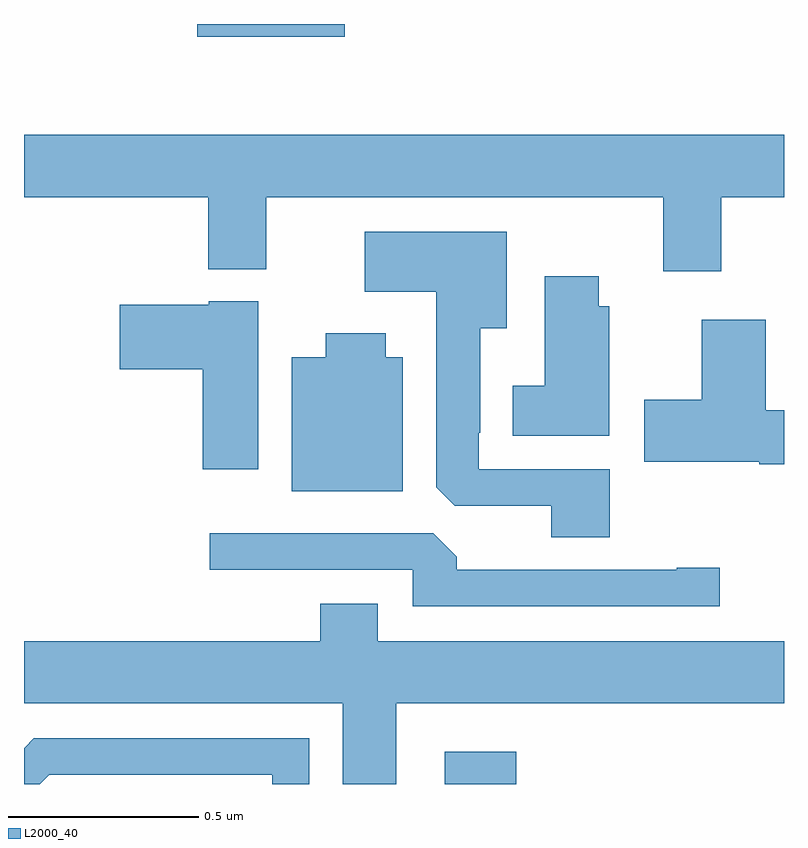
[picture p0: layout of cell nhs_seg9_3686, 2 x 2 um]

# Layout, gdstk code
import gdstk
lib = gdstk.Library(unit=1e-6, precision=1e-09)
def R(c, l, rs):  # rectangles x0, y0, x1, y1
    for r in rs: c.add(gdstk.rectangle(r[:2], r[2:], *l))
def P(c, l, *ps):  # polygons
    for p in ps: c.add(gdstk.Polygon(p, *l))
L2000_40 = (2000, 40)

nhs_seg9_3686 = lib.new_cell('nhs_seg9_3686')
R(nhs_seg9_3686, L2000_40, [(157.107,1237.5,157.295,1237.585), (156.456,1239.467,156.844,1239.5)])
P(nhs_seg9_3686, L2000_40, [(157.835,1239.044),(158,1239.044),(158,1239.208),(156,1239.208),(156,1239.044),(156.485,1239.044),(156.485,1238.855),(156.637,1238.855),(156.637,1239.044),(157.682,1239.044),(157.682,1238.85),(157.835,1238.85)],
  [(157.541,1238.328),(157.197,1238.328),(157.197,1238.425),(157.201,1238.425),(157.201,1238.699),(157.27,1238.699),(157.27,1238.953),(156.897,1238.953),(156.897,1238.795),(157.085,1238.795),(157.085,1238.281),(157.134,1238.232),(157.388,1238.232),(157.388,1238.149),(157.541,1238.149)],
  [(157.54,1238.757),(157.513,1238.757),(157.513,1238.836),(157.37,1238.836),(157.37,1238.548),(157.286,1238.548),(157.286,1238.417),(157.54,1238.417)],
  [(156.616,1238.77),(156.486,1238.77),(156.486,1238.761),(156.252,1238.761),(156.252,1238.591),(156.47,1238.591),(156.47,1238.328),(156.616,1238.328)],
  [(158,1238.483),(157.952,1238.483),(157.952,1238.722),(157.784,1238.722),(157.784,1238.511),(157.632,1238.511),(157.632,1238.348),(157.935,1238.348),(157.935,1238.341),(158,1238.341)],
  [(156.997,1238.623),(156.952,1238.623),(156.952,1238.686),(156.794,1238.686),(156.794,1238.623),(156.704,1238.623),(156.704,1238.27),(156.997,1238.27)],
  [(157.831,1238.069),(157.718,1238.069),(157.718,1238.064),(157.139,1238.064),(157.139,1238.098),(157.077,1238.16),(156.489,1238.16),(156.489,1238.064),(157.023,1238.064),(157.023,1237.968),(157.831,1237.968)],
  [(156.979,1237.712),(158,1237.712),(158,1237.876),(156.931,1237.876),(156.931,1237.975),(156.779,1237.975),(156.779,1237.876),(156,1237.876),(156,1237.712),(156.839,1237.712),(156.839,1237.5),(156.979,1237.5)],
  [(156.066,1237.524),(156.653,1237.524),(156.653,1237.5),(156.75,1237.5),(156.75,1237.62),(156.026,1237.62),(156,1237.594),(156,1237.5),(156.042,1237.5)])

lib.write_gds('nhs_seg9_3686.gds')
